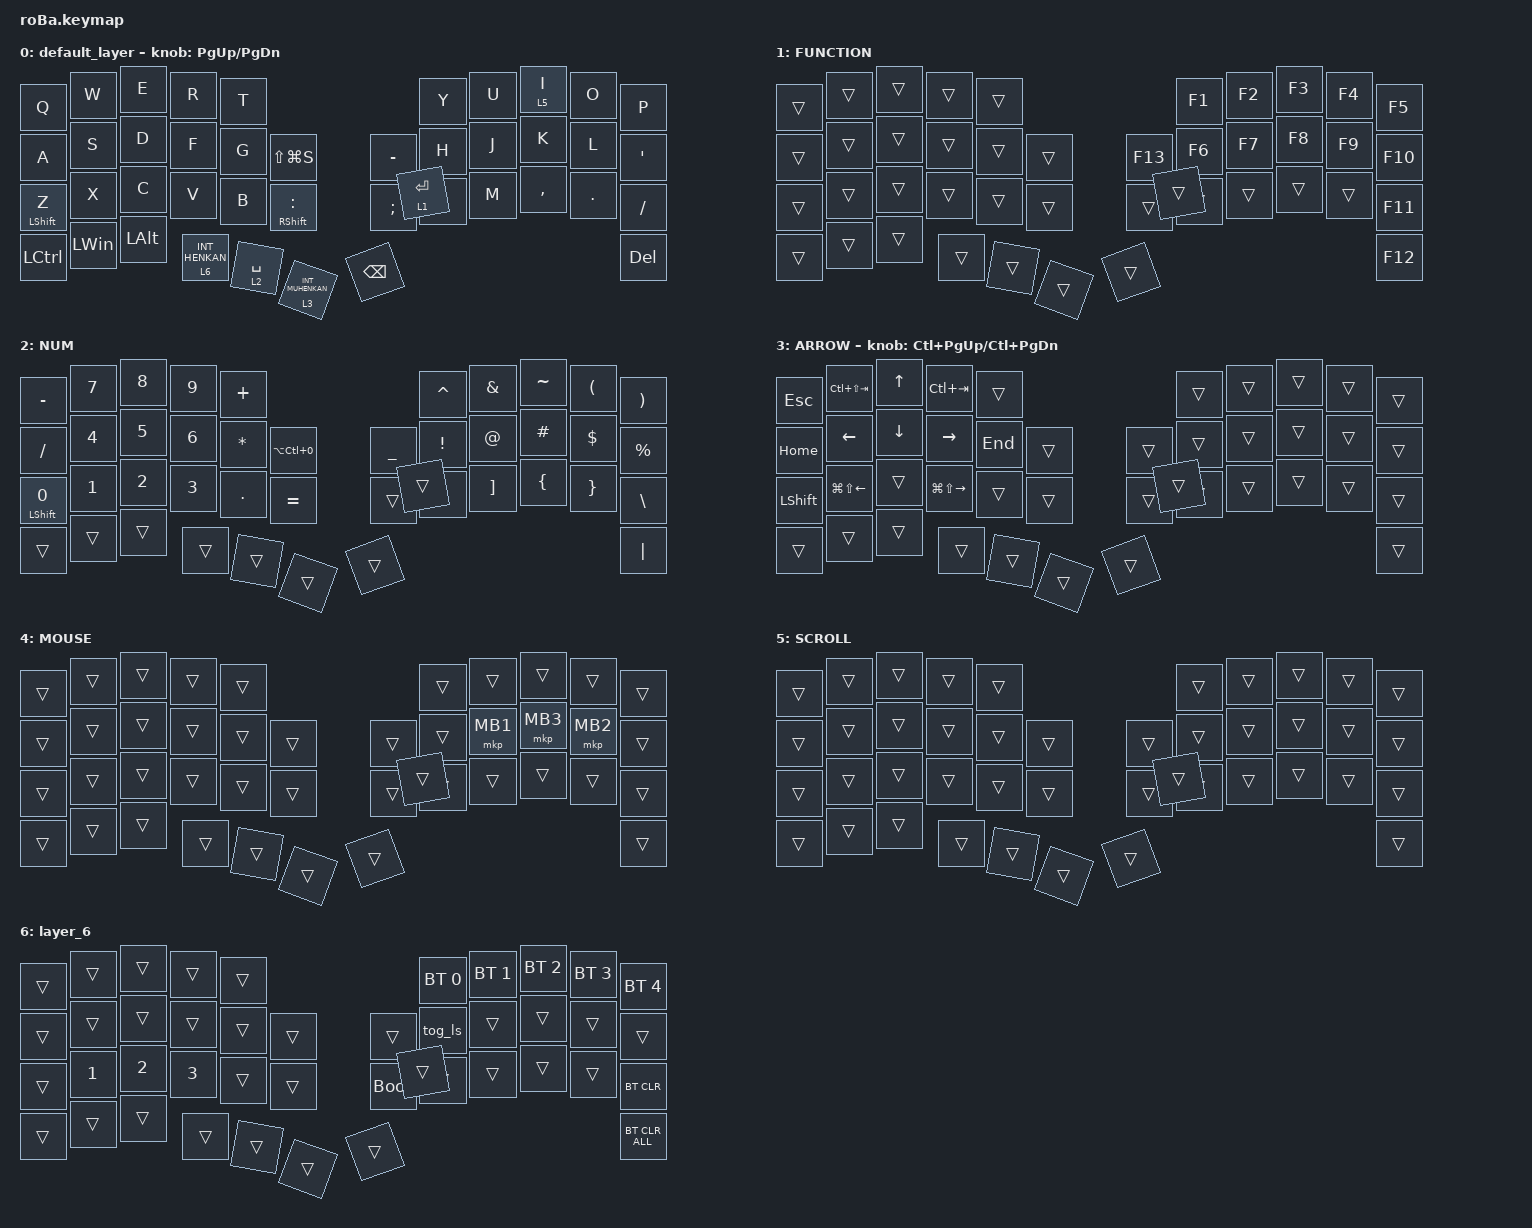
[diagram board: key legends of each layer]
#include <behaviors.dtsi>
#include <dt-bindings/zmk/bt.h>
#include <dt-bindings/zmk/keys.h>
#include <dt-bindings/zmk/pointing.h>
#include <layout_shift_kp_override.dtsi>
&mt {
    flavor = "balanced";
    quick-tap-ms = <0>;
};

&trackball {
    automouse-layer = <4>;
    scroll-layers = <5>;

    // arrows {
    //     layers = <3>;
    //     bindings =
    //         <&kp RIGHT_ARROW>,
    //         <&kp LEFT_ARROW>,
    //         <&kp UP_ARROW>,
    //         <&kp DOWN_ARROW>;
    //     tick = <10>;
    //     wait-ms = <5>;
    //     tap-ms = <5>;
    // };
};

/ {
    combos {
        compatible = "zmk,combos";

        tab {
            bindings = <&kp TAB>;
            key-positions = <11 12>;
        };

        shift_tab {
            bindings = <&kp LS(TAB)>;
            key-positions = <12 13>;
        };

        muhennkann {
            bindings = <&to_layer_0 INT_MUHENKAN>;
            key-positions = <11 10>;
        };

        double_quotation {
            bindings = <&kp DOUBLE_QUOTES>;
            key-positions = <20 21>;
        };

        eq {
            bindings = <&kp EQUAL>;
            key-positions = <24 25>;
        };

        hankaku-zenkaku {
            bindings = <&kp GRAVE>;
            key-positions = <0 1>;
        };
    };

    macros {
        to_layer_0: to_layer_0 {
            compatible = "zmk,behavior-macro-one-param";
            #binding-cells = <1>;
            bindings = <&to 0 &macro_param_1to1 &kp MACRO_PLACEHOLDER>;
            label = "TO_LAYER_0";
        };
    };

    behaviors {
        lt_to_layer_0: lt_to_layer_0 {
            compatible = "zmk,behavior-hold-tap";
            label = "LAYER_TAP_TO_0";
            bindings = <&mo>, <&to_layer_0>;

            #binding-cells = <2>;
            tapping-term-ms = <200>;

            // ZMK コア用に元の kp を保持
            original_key_press: original_key_press {
                compatible = "zmk,behavior-key-press";
                #binding-cells = <1>;
                label = "KEY_PRESS";
            };
    
            // &kp を layout-shift 対応版に差し替え
            kp: key_press {
                compatible = "zmk,behavior-layout-shift-key-press";
                #binding-cells = <1>;
                label = "LAYOUT_SHIFT_KEY_PRESS";
            };


        };
    };

    keymap {
        compatible = "zmk,keymap";

        default_layer {
            bindings = <
&kp Q             &kp W         &kp E         &kp R                        &kp T                                                          &kp Y        &kp U  &lt 5 I    &kp O    &kp P
&kp A             &kp S         &kp D         &kp F                        &kp G        &kp LS(LG(S))                      &kp MINUS      &kp H        &kp J  &kp K      &kp L    &kp SQT
&mt LEFT_SHIFT Z  &kp X         &kp C         &kp V                        &kp B        &mt RSHIFT COLON                   &kp SEMICOLON  &kp N        &kp M  &kp COMMA  &kp DOT  &kp SLASH
&kp LCTRL         &kp LEFT_WIN  &kp LEFT_ALT  &lt_to_layer_0 6 INT_HENKAN  &lt 2 SPACE  &lt_to_layer_0 3 INT_MUHENKAN      &kp BACKSPACE  &lt 1 ENTER                             &kp DEL
            >;

            sensor-bindings = <&inc_dec_kp PG_UP PAGE_DOWN>;
        };

        FUNCTION {
            bindings = <
&trans  &trans  &trans  &trans  &trans                       &kp F1  &kp F2  &kp F3  &kp F4  &kp F5
&trans  &trans  &trans  &trans  &trans  &trans      &kp F13  &kp F6  &kp F7  &kp F8  &kp F9  &kp F10
&trans  &trans  &trans  &trans  &trans  &trans      &trans   &trans  &trans  &trans  &trans  &kp F11
&trans  &trans  &trans  &trans  &trans  &trans      &trans   &trans                          &kp F12
            >;
        };

        NUM {
            bindings = <
&kp MINUS          &kp N7  &kp N8  &kp N9  &kp PLUS                                          &kp CARET         &kp AMPERSAND      &kp TILDE       &kp LEFT_PARENTHESIS  &kp RIGHT_PARENTHESIS
&kp SLASH          &kp N4  &kp N5  &kp N6  &kp ASTERISK  &kp LA(LC(N0))      &kp UNDERSCORE  &kp EXCLAMATION   &kp AT_SIGN        &kp HASH        &kp DOLLAR            &kp PERCENT
&mt LEFT_SHIFT N0  &kp N1  &kp N2  &kp N3  &kp PERIOD    &kp EQUAL           &trans          &kp LEFT_BRACKET  &kp RIGHT_BRACKET  &kp LEFT_BRACE  &kp RIGHT_BRACE       &kp BACKSLASH
&trans             &trans  &trans  &trans  &trans        &trans              &trans          &trans                                                                     &kp PIPE
            >;
        };

        ARROW {
            bindings = <
&kp ESCAPE      &kp LC(LS(TAB))         &kp UP_ARROW    &kp LC(TAB)              &trans                       &trans  &trans  &trans  &trans  &trans
&kp HOME        &kp LEFT_ARROW          &kp DOWN_ARROW  &kp RIGHT_ARROW          &kp END  &trans      &trans  &trans  &trans  &trans  &trans  &trans
&kp LEFT_SHIFT  &kp LG(LS(LEFT_ARROW))  &trans          &kp LG(LS(RIGHT_ARROW))  &trans   &trans      &trans  &trans  &trans  &trans  &trans  &trans
&trans          &trans                  &trans          &trans                   &trans   &trans      &trans  &trans                          &trans
            >;

            sensor-bindings = <&inc_dec_kp LC(PAGE_UP) LC(PAGE_DOWN)>;
        };

        MOUSE {
            bindings = <
&trans  &trans  &trans  &trans  &trans                      &trans  &trans    &trans    &trans    &trans
&trans  &trans  &trans  &trans  &trans  &trans      &trans  &trans  &mkp MB1  &mkp MB3  &mkp MB2  &trans
&trans  &trans  &trans  &trans  &trans  &trans      &trans  &trans  &trans    &trans    &trans    &trans
&trans  &trans  &trans  &trans  &trans  &trans      &trans  &trans                                &trans
            >;
        };

        SCROLL {
            bindings = <
&trans  &trans  &trans  &trans  &trans                      &trans  &trans  &trans  &trans  &trans
&trans  &trans  &trans  &trans  &trans  &trans      &trans  &trans  &trans  &trans  &trans  &trans
&trans  &trans  &trans  &trans  &trans  &trans      &trans  &trans  &trans  &trans  &trans  &trans
&trans  &trans  &trans  &trans  &trans  &trans      &trans  &trans                          &trans
            >;
        };

        layer_6 {
            bindings = <
&trans  &trans        &trans        &trans        &trans                           &bt BT_SEL 0  &bt BT_SEL 1  &bt BT_SEL 2  &bt BT_SEL 3  &bt BT_SEL 4
&trans  &trans        &trans        &trans        &trans  &trans      &trans       &tog_ls       &trans        &trans        &trans        &trans
&trans  &kp NUMBER_1  &kp NUMBER_2  &kp NUMBER_3  &trans  &trans      &bootloader  &trans        &trans        &trans        &trans        &bt BT_CLR
&trans  &trans        &trans        &trans        &trans  &trans      &trans       &trans                                                  &bt BT_CLR_ALL
            >;
        };
    };
};
